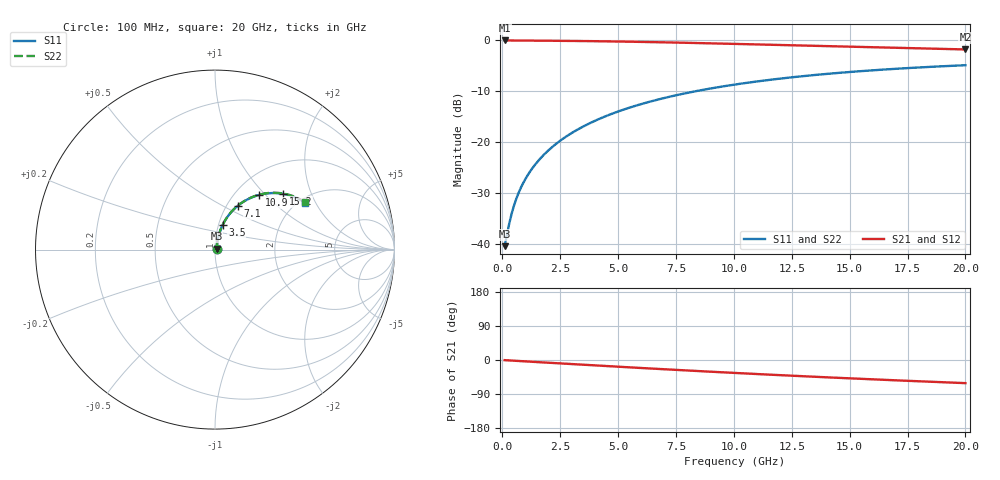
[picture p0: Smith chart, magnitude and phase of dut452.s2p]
! Touchstone file exported from HFSS 2026.1.0
!  File:  C:/ffzhzh/LocalFiles/Ansys_Project_Files/temp_train_BSMRDL_452_1783013317_51716.aedt
!  Generated:  01:30:24 AM Jul  3, 2026
!  Design:  BSMRDL
!  Project:  temp_train_BSMRDL_452_1783013317_51716
! Variables:
!  h_bsmrdl = 2.09um
!  h_ox = 20um
!  h_rdl = 5um
!  h_sub = 80um
!  h_tmrdl = 5um
!  h_tsv = 80um
!  h_via = 3um
!  l_bsmrdl = 914.26um
!  l_sub = 1314.26um
!  l_tmrdl = 200um
!  m_sub = 200um
!  pitch = 50.84um
!  r_tsv = 6um
!  s_tmrdl = 10um
!  w_bsmrdl = 18.61um
!  w_sub = 500um
!  w_tmrdl = 12um
!  x_tsv_center1 = 206um
!  x_tsv_center2 = 1138.87um
!  x_tsv_center3 = 1350.87um
!  x_tsv_center4 = 2283.74um
!  x_tsv_center5 = 2495.74um
!  x_tsv_center6 = 3428.61um
# GHz S MA R 50.000000
! Terminal data exported
! Port[1] = BSM_RDL1_1_T1
! Port[2] = BSM_RDL1_1_T2
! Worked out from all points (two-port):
!   200 points, 100 MHz to 20 GHz, reference 50 ohm
!   highest |S21| = -0.07 dB at 100 MHz (marker M1); lowest = -1.8 dB at 20 GHz (marker M2)
!   |S21| within 3 dB of the highest: start of sweep to end of sweep
!   lowest |S11| = -40.4 dB at 100 MHz (marker M3), VSWR 1.02, Z = 50.9 + j0.448 ohm
!   |S11| at or under -10 dB: start of sweep to 8.38 GHz
!   |S22| runs from -40.4 to -4.9 dB; largest |S21 - S12| = 6.8e-15
!   S11 on the Smith chart (normalised r, x): 100 MHz: 1.02, +0.01; 3.5 GHz: 1.05, +0.29; 7.1 GHz: 1.12, +0.59; 10.9 GHz: 1.28, +0.92; 15.2 GHz: 1.58, +1.29; 20 GHz: 2.16, +1.66
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0.1  0.009543 27.5  0.9916 -0.4  0.9916 -0.4  0.009543 27.5
! Gamma 0 0 0 0
! Port Impedance 50 0 50 0
0.3  0.01589 55.5  0.9912 -1.1  0.9912 -1.1  0.01589 55.5
0.4  0.01972 61.4  0.9909 -1.5  0.9909 -1.5  0.01972 61.5
0.6  0.02764 67.8  0.9902 -2.2  0.9902 -2.2  0.02764 67.8
0.7  0.03162 69.7  0.9899 -2.6  0.9899 -2.6  0.03162 69.7
0.9  0.03957 72.1  0.9893 -3.3  0.9893 -3.3  0.03957 72.1
1.2  0.05149 74.0  0.9884 -4.4  0.9884 -4.4  0.05148 74.0
1.7  0.07137 75.2  0.9868 -6.2  0.9868 -6.2  0.07136 75.2
2.2  0.09124 75.1  0.9849 -7.9  0.9849 -7.9  0.09123 75.2
2.8  0.115 74.3  0.9823 -10.1  0.9823 -10.1  0.115 74.4
3.5  0.1424 72.9  0.9785 -12.5  0.9785 -12.5  0.1424 73.0
4.2  0.1693 71.1  0.9741 -15.0  0.9741 -15.0  0.1693 71.2
5  0.1994 68.9  0.9683 -17.7  0.9683 -17.7  0.1994 69.0
6.8  0.2639 63.5  0.9524 -23.8  0.9524 -23.8  0.2639 63.6
7.1  0.2742 62.6  0.9495 -24.8  0.9495 -24.8  0.2742 62.7
8.5  0.32 58.3  0.9349 -29.3  0.9349 -29.3  0.32 58.5
10.1  0.3681 53.5  0.9168 -34.3  0.9168 -34.3  0.3681 53.8
10.9  0.3904 51.2  0.9075 -36.8  0.9075 -36.8  0.3904 51.4
13.4  0.4525 44.1  0.8781 -44.0  0.8781 -44.0  0.4525 44.4
15.2  0.4905 39.3  0.8575 -49.0  0.8575 -49.0  0.4905 39.6
16.7  0.5181 35.4  0.8413 -52.9  0.8413 -52.9  0.5181 35.8
20  0.5671 27.4  0.8094 -61.1  0.8094 -61.1  0.567 27.8
